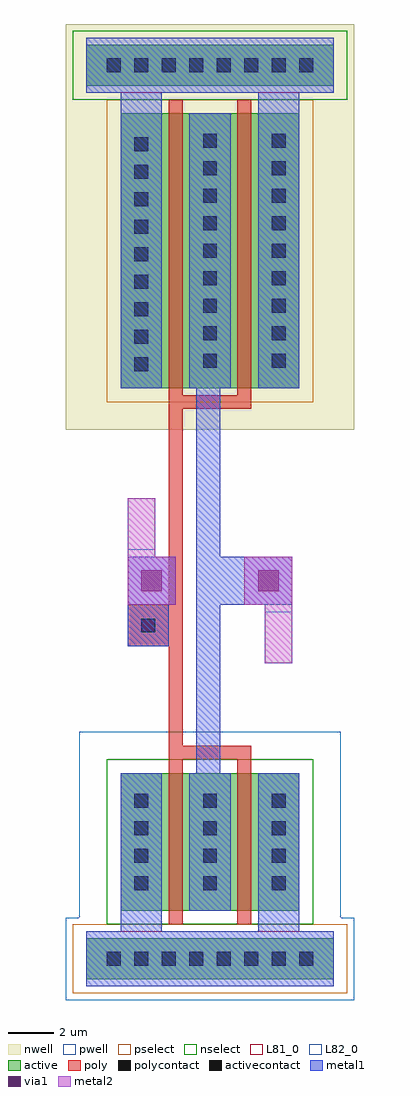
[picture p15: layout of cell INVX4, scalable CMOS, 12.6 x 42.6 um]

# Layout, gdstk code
import gdstk
lib = gdstk.Library(unit=1e-6, precision=1e-09)
def R(c, l, rs):  # rectangles x0, y0, x1, y1
    for r in rs: c.add(gdstk.rectangle(r[:2], r[2:], *l))
def A(c, l, x, y, w, h, nx, ny, dx, dy):  # array of equal rectangles
    R(c, l, [(x+i*dx, y+j*dy, x+i*dx+w, y+j*dy+h) for i in range(nx) for j in range(ny)])
pwell = (41, 0)
nwell = (42, 0)
active = (43, 0)
pselect = (44, 0)
nselect = (45, 0)
poly = (46, 0)
polycontact = (47, 0)
activecontact = (48, 0)
metal1 = (49, 0)
via1 = (50, 0)
metal2 = (51, 0)
L81_0 = (81, 0)
L82_0 = (82, 0)

invx4 = lib.new_cell('INVX4')
R(invx4, pwell, [(-1.8,-1.8,10.8,1.8), (-1.2,1.8,10.2,9.9)])
R(invx4, nwell, [(-1.8,23.1,10.8,40.8)])
R(invx4, active, [(-0.9,-0.9,9.9,0.9), (0.6,2.1,8.4,8.1), (0.6,24.9,8.4,36.9), (-0.9,38.1,9.9,39.9)])
R(invx4, pselect, [(-1.5,-1.5,10.5,1.5), (0,24.3,9,37.5)])
R(invx4, nselect, [(0,1.5,9,8.7), (-1.5,37.5,10.5,40.5)])
R(invx4, poly, [(2.7,1.5,3.3,8.7), (5.7,1.5,6.3,8.7), (2.7,8.7,6.3,9.3), (2.7,9.3,3.3,13.65), (0.9,13.65,3.3,15.45), (2.7,15.45,3.3,24), (2.7,24,6.3,24.6), (2.7,24.6,3.3,37.5), (5.7,24.6,6.3,37.5)])
R(invx4, polycontact, [(1.5,14.25,2.1,14.85)])
A(invx4, activecontact, 0, -0.3, 0.6, 0.6, 8, 2, 1.2, 39)
A(invx4, activecontact, 1.2, 3, 0.6, 0.6, 3, 4, 3, 1.2)
A(invx4, activecontact, 1.2, 25.65, 0.6, 0.6, 1, 9, 0, 1.2)
A(invx4, activecontact, 4.2, 25.8, 0.6, 0.6, 1, 9, 0, 1.2)
A(invx4, activecontact, 7.2, 25.8, 0.6, 0.6, 1, 9, 0, 1.2)
R(invx4, metal1, [(-0.9,-1.2,9.9,1.2), (0.6,1.2,2.4,8.1), (6.6,1.2,8.4,8.1), (3.6,2.1,5.4,8.1), (3.9,8.1,4.95,15.45), (0.9,13.65,2.7,15.45), (0.9,15.45,3,17.55), (3.9,15.45,8.1,17.55), (3.9,17.55,4.95,24.9), (0.6,24.9,2.4,37.8), (3.6,24.9,5.4,36.9), (6.6,24.9,8.4,37.8), (-0.9,37.8,9.9,40.2)])
R(invx4, via1, [(1.5,16.05,2.4,16.95), (6.6,16.05,7.5,16.95)])
R(invx4, metal2, [(6.9,12.9,8.1,15.45), (0.9,15.45,3,17.55), (6,15.45,8.1,17.55), (0.9,17.55,2.1,20.1)])
R(invx4, L81_0, [(-0.9,-1.2,9.9,1.2), (-0.9,37.8,9.9,40.2)])
R(invx4, L82_0, [(6.9,12.9,8.1,15.15), (0.9,17.85,2.1,20.1)])

lib.write_gds('INVX4.gds')
